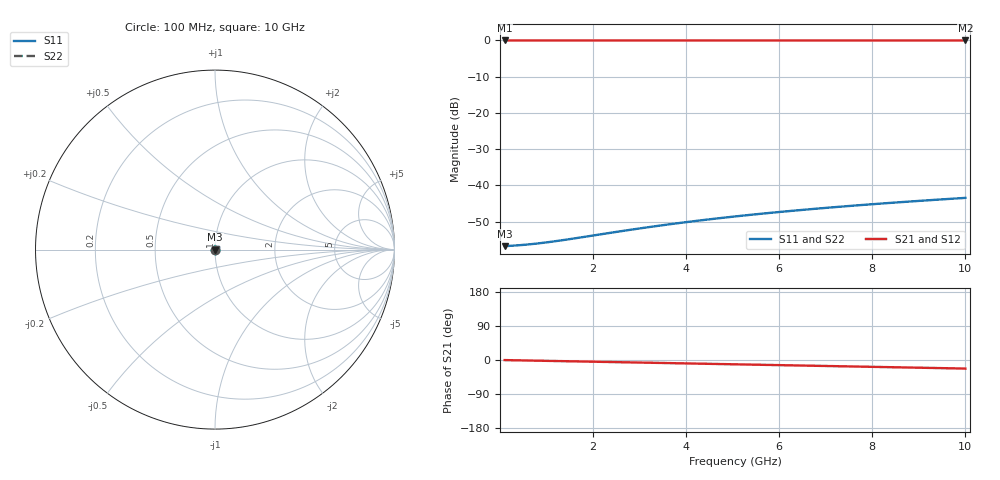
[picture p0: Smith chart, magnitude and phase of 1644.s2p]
# Hz S RI R 50.00
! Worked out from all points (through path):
!   100 points, 100 MHz to 10 GHz, reference 50 ohm
!   highest |S21| = -0.01 dB at 100 MHz (marker M1); lowest = 0.0 dB at 10 GHz (marker M2)
!   group delay of S21, straight-line fit = 6.28 ps
!   lowest |S11| = -56.8 dB at 100 MHz (marker M3), VSWR 1.00, Z = 50.1 + j0.00646 ohm
!   |S11| at or under -10 dB: start of sweep to end of sweep
!   |S22| runs from -56.8 to -43.5 dB; largest |S21 - S12| = 0
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1e8  0.00145 6.44e-05  0.9985 -0.00392  0.9985 -0.00392  0.00145 6.44e-05
3e8  0.00146 0.000193  0.9985 -0.0118  0.9985 -0.0118  0.00146 0.000193
5e8  0.00147 0.000321  0.9983 -0.0196  0.9983 -0.0196  0.00147 0.000321
8e8  0.00149 0.000513  0.998 -0.0313  0.998 -0.0313  0.00149 0.000513
1e9  0.0015 0.00064  0.9977 -0.0392  0.9977 -0.0392  0.0015 0.00064
1.2e9  0.00152 0.000767  0.9974 -0.047  0.9974 -0.047  0.00152 0.000767
1.5e9  0.00154 0.000955  0.9967 -0.0588  0.9967 -0.0588  0.00154 0.000955
1.8e9  0.00157 0.00114  0.996 -0.0705  0.996 -0.0705  0.00157 0.00114
2.7e9  0.00167 0.0017  0.9928 -0.1057  0.9928 -0.1057  0.00167 0.0017
3.1e9  0.00173 0.00194  0.991 -0.1213  0.991 -0.1213  0.00173 0.00194
3.4e9  0.00178 0.00211  0.9895 -0.133  0.9895 -0.133  0.00178 0.00211
3.8e9  0.00185 0.00235  0.9873 -0.1485  0.9873 -0.1485  0.00185 0.00235
4.2e9  0.00193 0.00258  0.9848 -0.1641  0.9848 -0.1641  0.00193 0.00258
4.6e9  0.00202 0.00281  0.9821 -0.1796  0.9821 -0.1796  0.00202 0.00281
5.1e9  0.00213 0.00308  0.9783 -0.1989  0.9783 -0.1989  0.00213 0.00308
5.5e9  0.00224 0.0033  0.975 -0.2143  0.975 -0.2143  0.00224 0.0033
5.9e9  0.00235 0.00352  0.9715 -0.2297  0.9715 -0.2297  0.00235 0.00352
6.7e9  0.00258 0.00393  0.9637 -0.2603  0.9637 -0.2603  0.00258 0.00393
7.5e9  0.00285 0.00434  0.955 -0.2906  0.955 -0.2906  0.00285 0.00434
8.4e9  0.00318 0.00477  0.944 -0.3245  0.944 -0.3245  0.00318 0.00477
9.2e9  0.00351 0.00514  0.9331 -0.3543  0.9331 -0.3543  0.00351 0.00514
1e10  0.00386 0.0055  0.9214 -0.3838  0.9214 -0.3838  0.00386 0.0055
